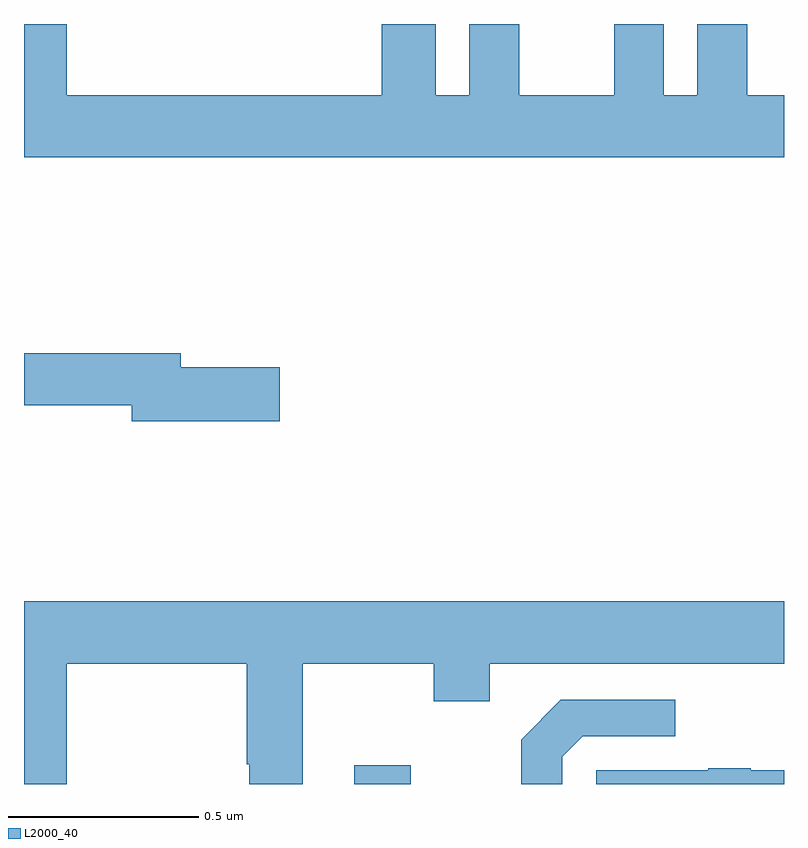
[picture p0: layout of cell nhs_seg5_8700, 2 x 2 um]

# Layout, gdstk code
import gdstk
lib = gdstk.Library(unit=1e-6, precision=1e-09)
def R(c, l, rs):  # rectangles x0, y0, x1, y1
    for r in rs: c.add(gdstk.rectangle(r[:2], r[2:], *l))
def P(c, l, *ps):  # polygons
    for p in ps: c.add(gdstk.Polygon(p, *l))
L2000_40 = (2000, 40)

nhs_seg5_8700 = lib.new_cell('nhs_seg5_8700')
R(nhs_seg5_8700, L2000_40, [(225.869,833.799,226.018,833.848)])
P(nhs_seg5_8700, L2000_40, [(227,835.612),(226.903,835.612),(226.903,835.799),(226.772,835.799),(226.772,835.612),(226.684,835.612),(226.684,835.799),(226.553,835.799),(226.553,835.612),(226.303,835.612),(226.303,835.799),(226.172,835.799),(226.172,835.612),(226.084,835.612),(226.084,835.799),(225.941,835.799),(225.941,835.612),(225.112,835.612),(225.112,835.799),(225,835.799),(225,835.448),(227,835.448)],
  [(225.673,834.896),(225.412,834.896),(225.412,834.932),(225,834.932),(225,834.796),(225.284,834.796),(225.284,834.754),(225.673,834.754)],
  [(225.112,834.116),(225.586,834.116),(225.586,833.851),(225.593,833.851),(225.593,833.799),(225.733,833.799),(225.733,834.116),(226.078,834.116),(226.078,834.017),(226.225,834.017),(226.225,834.116),(227,834.116),(227,834.28),(225,834.28),(225,833.799),(225.112,833.799)],
  [(226.416,833.871),(226.47,833.925),(226.714,833.925),(226.714,834.021),(226.413,834.021),(226.308,833.915),(226.308,833.799),(226.416,833.799)],
  [(227,833.835),(226.913,833.835),(226.913,833.84),(226.801,833.84),(226.801,833.835),(226.506,833.835),(226.506,833.799),(227,833.799)])

lib.write_gds('nhs_seg5_8700.gds')
